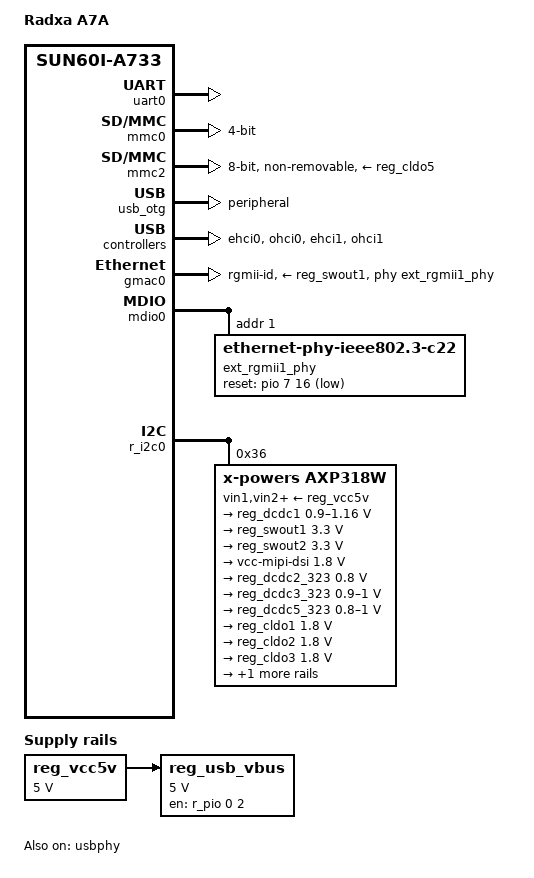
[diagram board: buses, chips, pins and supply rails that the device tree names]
// SPDX-License-Identifier: (GPL-2.0-only OR MIT)
// Copyright (C) 2025 Arm Ltd.

/dts-v1/;

#include "sun60i-a733.dtsi"

#include <dt-bindings/gpio/gpio.h>

/ {
	model = "Radxa A7A";
	compatible = "radxa,cubie-a7a", "allwinner,sun60i-a733";

	aliases {
		serial0 = &uart0;
	};

	chosen {
		stdout-path = "serial0:115200n8";
	};

	reg_vcc5v: vcc5v {
		/* board wide 5V supply from the USB-C connector */
		compatible = "regulator-fixed";
		regulator-name = "vcc-5v";
		regulator-min-microvolt = <5000000>;
		regulator-max-microvolt = <5000000>;
		regulator-always-on;
	};

	reg_usb_vbus: vbus {
		compatible = "regulator-fixed";
		regulator-name = "usb-vbus";
		regulator-min-microvolt = <5000000>;
		regulator-max-microvolt = <5000000>;
		vin-supply = <&reg_vcc5v>;
		gpio = <&r_pio 0 2 GPIO_ACTIVE_HIGH>;	/* PL2 */
		enable-active-high;
	};
};

&uart0 {
	pinctrl-names = "default";
	pinctrl-0 = <&uart0_pb_pins>;
	status = "okay";
};

&mmc0 {
	bus-width = <4>;
	status = "okay";
};

&mmc2 {
	bus-width = <8>;
	cap-mmc-hw-reset;
	mmc-ddr-1_8v;
	mmc-hs200-1_8v;
	non-removable;
	vmmc-supply = <&reg_cldo5>;
	vqmmc-supply = <&reg_swout2>;
	status = "okay";
};

&usb_otg {
	dr_mode = "peripheral";
	status = "okay";
};

&usbphy {
	usb0_vbus-supply = <&reg_vcc5v>;
	usb1_vbus-supply = <&reg_usb_vbus>;
	status = "okay";
};

&ehci0 {
	status = "okay";
};

&ohci0 {
	status = "okay";
};

&ehci1 {
	status = "okay";
};

&ohci1 {
	status = "okay";
};

&gmac0 {
	phy-mode = "rgmii-id";
	phy-handle = <&ext_rgmii1_phy>;
	phy-supply = <&reg_swout1>;

	tx-internal-delay-ps = <1200>;
	rx-internal-delay-ps = <1000>;

	status = "okay";
};

&mdio0 {
	ext_rgmii1_phy: ethernet-phy@1 {
		compatible = "ethernet-phy-ieee802.3-c22";
		reg = <1>;
		reset-gpios = <&pio 7 16 GPIO_ACTIVE_LOW>; /* PH16 */
		reset-assert-us = <10000>;
		reset-deassert-us = <150000>;
	};
};

&r_i2c0 {
	status = "okay";

	axp318w: pmic@36 {
		compatible = "x-powers,axp318w";
		reg = <0x36>;
		#interrupt-cells = <1>;
		interrupt-controller;
		interrupt-parent = <&nmi_intc>;
		interrupts = <0 IRQ_TYPE_LEVEL_LOW>;
		status = "okay";

		vin1-supply = <&reg_vcc5v>;
		vin2-supply = <&reg_vcc5v>;
		vin3-supply = <&reg_vcc5v>;

		regulators {
			reg_dcdc1: dcdc1 {
				regulator-always-on;
				regulator-min-microvolt = <900000>;
				regulator-max-microvolt = <1160000>;
				regulator-name = "vdd-cpul";
			};

			reg_swout1: swout1 {
				regulator-always-on;
				regulator-min-microvolt = <3300000>;
				regulator-max-microvolt = <3300000>;
				regulator-name = "vdd-swout1";
			};

			reg_swout2: swout2 {
				regulator-always-on;
				regulator-min-microvolt = <3300000>;
				regulator-max-microvolt = <3300000>;
				regulator-name = "vdd-swout2";
			};

			aldo1 {
				regulator-min-microvolt = <1800000>;
				regulator-max-microvolt = <1800000>;
				regulator-name = "vcc-mipi-dsi";
			};

			/* Supplies the SYSFB */
			reg_dcdc2_323: dcdc2 {
				regulator-always-on;
				regulator-min-microvolt = <800000>;
				regulator-max-microvolt = <800000>;
				regulator-name = "vdd-sys";
			};

			/* Supplies the "big" cluster (1.8 GHz cores) */
			reg_dcdc3_323: dcdc3 {
				regulator-always-on;
				regulator-min-microvolt = <900000>;
				regulator-max-microvolt = <1000000>;
				regulator-name = "vdd-cpub";
			};

			/* DCDC4 is polyphased with DCDC1 */

			/* Supplies the "small" cluster (1.8 GHz cores) */
			reg_dcdc5_323: dcdc5 {
				regulator-always-on;
				regulator-min-microvolt = <800000>;
				regulator-max-microvolt = <1000000>;
				regulator-name = "vdd-cpul";
			};

			reg_cldo1: cldo1 {
				regulator-min-microvolt = <1800000>;
				regulator-max-microvolt = <1800000>;
				regulator-name = "vcc-pm";
			};

			reg_cldo2: cldo2 {
				regulator-min-microvolt = <1800000>;
				regulator-max-microvolt = <1800000>;
				regulator-name = "vcc-hdmi";
			};

			reg_cldo3: cldo3 {
				regulator-min-microvolt = <1800000>;
				regulator-max-microvolt = <1800000>;
				regulator-name = "vcc-dram";
			};

			reg_cldo4: cldo4 {
				/* not connected */
			};

			reg_cldo5: cldo5 {
				regulator-min-microvolt = <1800000>;
				regulator-max-microvolt = <1800000>;
				regulator-name = "vcc-pc";
			};
		};
	};
};
